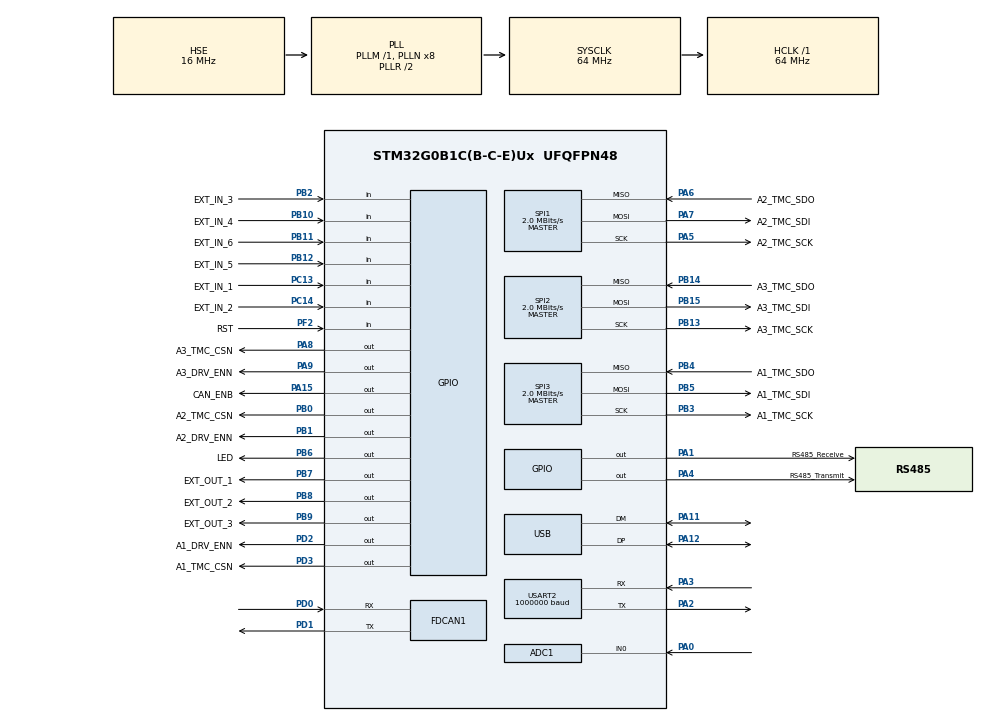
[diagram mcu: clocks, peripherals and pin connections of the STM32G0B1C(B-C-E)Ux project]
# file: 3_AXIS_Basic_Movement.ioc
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ADC1.Channel-0\#ChannelRegularConversion=ADC_CHANNEL_0
ADC1.NbrOfConversionFlag=1
ADC1.Rank-0\#ChannelRegularConversion=1
ADC1.SamplingTime-0\#ChannelRegularConversion=ADC_SAMPLINGTIME_COMMON_1
ADC1.SelectedChannel=ADC_CHANNEL_0
ADC1.master=1
FDCAN1.CalculateBaudRateNominal=1000000
FDCAN1.CalculateTimeBitNominal=1000
FDCAN1.CalculateTimeQuantumNominal=62.5
FDCAN1.DataPrescaler=1
FDCAN1.DataTimeSeg1=10
FDCAN1.DataTimeSeg2=2
FDCAN1.FrameFormat=FDCAN_FRAME_FD_BRS
FDCAN1.NominalPrescaler=4
FDCAN1.NominalTimeSeg1=13
FDCAN1.NominalTimeSeg2=2
Mcu.Family=STM32G0
Mcu.Name=STM32G0B1C(B-C-E)Ux
Mcu.Package=UFQFPN48
NVIC.TIM16_FDCAN_IT0_IRQn=true\:0\:0\:false\:false\:true\:true\:true\:true
NVIC.USART2_LPUART2_IRQn=true\:0\:0\:false\:false\:true\:true\:true\:true
NVIC.USB_UCPD1_2_IRQn=true\:0\:0\:false\:false\:true\:true\:true\:true
PA0.Mode=IN0
PA0.Signal=ADC1_IN0
PA1.GPIO_Label=RS485_Receive
PA1.Signal=GPIO_Output
PA11\ [PA9].Mode=Device
PA11\ [PA9].Signal=USB_DM
PA12\ [PA10].Mode=Device
PA12\ [PA10].Signal=USB_DP
PA13.Mode=Serial_Wire
PA13.Signal=SYS_SWDIO
PA14-BOOT0.Mode=Serial_Wire
PA14-BOOT0.Signal=SYS_SWCLK
PA15.GPIO_Label=CAN_ENB
PA15.Signal=GPIO_Output
PA2.Mode=Asynchronous
PA2.Signal=USART2_TX
PA3.Mode=Asynchronous
PA3.Signal=USART2_RX
PA4.GPIO_Label=RS485_Transmit
PA4.Signal=GPIO_Output
PA5.GPIO_Label=A2_TMC_SCK
PA5.GPIO_Speed=GPIO_SPEED_FREQ_HIGH
PA5.Mode=Full_Duplex_Master
PA5.Signal=SPI1_SCK
PA6.GPIO_Label=A2_TMC_SDO
PA6.GPIO_Speed=GPIO_SPEED_FREQ_HIGH
PA6.Mode=Full_Duplex_Master
PA6.Signal=SPI1_MISO
PA7.GPIO_Label=A2_TMC_SDI
PA7.GPIO_Speed=GPIO_SPEED_FREQ_HIGH
PA7.Mode=Full_Duplex_Master
PA7.Signal=SPI1_MOSI
PA8.GPIO_Label=A3_TMC_CSN
PA8.PinState=GPIO_PIN_SET
PA8.Signal=GPIO_Output
PA9.GPIO_Label=A3_DRV_ENN
PA9.GPIO_PuPd=GPIO_PULLUP
PA9.PinState=GPIO_PIN_SET
PA9.Signal=GPIO_Output
PB0.GPIO_Label=A2_TMC_CSN
PB0.PinState=GPIO_PIN_SET
PB0.Signal=GPIO_Output
PB1.GPIO_Label=A2_DRV_ENN
PB1.GPIO_PuPd=GPIO_PULLUP
PB1.PinState=GPIO_PIN_SET
PB1.Signal=GPIO_Output
PB10.GPIO_Label=EXT_IN_4
PB10.GPIO_PuPd=GPIO_PULLDOWN
PB10.Signal=GPIO_Input
PB11.GPIO_Label=EXT_IN_6
PB11.GPIO_PuPd=GPIO_PULLDOWN
PB11.Signal=GPIO_Input
PB12.GPIO_Label=EXT_IN_5
PB12.GPIO_PuPd=GPIO_PULLDOWN
PB12.Signal=GPIO_Input
PB13.GPIO_Label=A3_TMC_SCK
PB13.GPIO_Speed=GPIO_SPEED_FREQ_HIGH
PB13.Mode=Full_Duplex_Master
PB13.Signal=SPI2_SCK
PB14.GPIO_Label=A3_TMC_SDO
PB14.GPIO_Speed=GPIO_SPEED_FREQ_HIGH
PB14.Mode=Full_Duplex_Master
PB14.Signal=SPI2_MISO
PB15.GPIO_Label=A3_TMC_SDI
PB15.GPIO_Speed=GPIO_SPEED_FREQ_HIGH
PB15.Mode=Full_Duplex_Master
PB15.Signal=SPI2_MOSI
PB2.GPIO_Label=EXT_IN_3
PB2.GPIO_PuPd=GPIO_PULLDOWN
PB2.Signal=GPIO_Input
PB3.GPIO_Label=A1_TMC_SCK
PB3.GPIO_Speed=GPIO_SPEED_FREQ_HIGH
PB3.Mode=Full_Duplex_Master
PB3.PinState=GPIO_PIN_RESET
PB3.Signal=SPI3_SCK
PB4.GPIO_Label=A1_TMC_SDO
PB4.GPIO_Speed=GPIO_SPEED_FREQ_HIGH
PB4.Mode=Full_Duplex_Master
PB4.Signal=SPI3_MISO
PB5.GPIO_Label=A1_TMC_SDI
PB5.GPIO_Speed=GPIO_SPEED_FREQ_HIGH
PB5.Mode=Full_Duplex_Master
PB5.Signal=SPI3_MOSI
PB6.GPIO_Label=LED
PB6.GPIO_PuPd=GPIO_NOPULL
PB6.Signal=GPIO_Output
PB7.GPIO_Label=EXT_OUT_1
PB7.GPIO_PuPd=GPIO_PULLDOWN
PB7.Signal=GPIO_Output
PB8.GPIO_Label=EXT_OUT_2
PB8.GPIO_PuPd=GPIO_PULLDOWN
PB8.Signal=GPIO_Output
PB9.GPIO_Label=EXT_OUT_3
PB9.GPIO_PuPd=GPIO_PULLDOWN
PB9.Signal=GPIO_Output
PC13.GPIO_Label=EXT_IN_1
PC13.GPIO_PuPd=GPIO_PULLDOWN
PC13.Signal=GPIO_Input
PC14-OSC32_IN\ (PC14).GPIO_Label=EXT_IN_2
PC14-OSC32_IN\ (PC14).GPIO_PuPd=GPIO_PULLDOWN
PC14-OSC32_IN\ (PC14).Signal=GPIO_Input
PD0.GPIO_Speed=GPIO_SPEED_FREQ_HIGH
PD0.Mode=FDCAN_Activate
PD0.Signal=FDCAN1_RX
PD1.GPIO_Speed=GPIO_SPEED_FREQ_HIGH
PD1.Mode=FDCAN_Activate
PD1.Signal=FDCAN1_TX
PD2.GPIO_Label=A1_DRV_ENN
PD2.GPIO_PuPd=GPIO_PULLUP
PD2.PinState=GPIO_PIN_SET
PD2.Signal=GPIO_Output
PD3.GPIO_Label=A1_TMC_CSN
PD3.PinState=GPIO_PIN_SET
PD3.Signal=GPIO_Output
PF0-OSC_IN\ (PF0).Mode=HSE-External-Oscillator
PF0-OSC_IN\ (PF0).Signal=RCC_OSC_IN
PF1-OSC_OUT\ (PF1).Mode=HSE-External-Oscillator
PF1-OSC_OUT\ (PF1).Signal=RCC_OSC_OUT
PF2-NRST.GPIO_Label=RST
PF2-NRST.Signal=GPIO_Input
ProjectManager.HeapSize=0x200
ProjectManager.StackSize=0x400
ProjectManager.TargetToolchain=STM32CubeIDE
RCC.ADCFreq_Value=64000000
RCC.AHBFreq_Value=64000000
RCC.CortexFreq_Value=64000000
RCC.EXTERNAL_CLOCK_VALUE=48000
RCC.HCLKFreq_Value=64000000
RCC.HSE_VALUE=16000000
RCC.HSI48_VALUE=48000000
RCC.HSI_VALUE=16000000
RCC.LSE_VALUE=32768
RCC.PLLSourceVirtual=RCC_PLLSOURCE_HSE
RCC.SYSCLKFreq_VALUE=64000000
RCC.SYSCLKSource=RCC_SYSCLKSOURCE_PLLCLK
RCC.USBFreq_Value=48000000
RCC.VCOOutputFreq_Value=128000000
SPI1.BaudRatePrescaler=SPI_BAUDRATEPRESCALER_32
SPI1.CLKPhase=SPI_PHASE_1EDGE
SPI1.CalculateBaudRate=2.0 MBits/s
SPI1.DataSize=SPI_DATASIZE_8BIT
SPI1.Direction=SPI_DIRECTION_2LINES
SPI1.Mode=SPI_MODE_MASTER
SPI1.VirtualType=VM_MASTER
SPI2.BaudRatePrescaler=SPI_BAUDRATEPRESCALER_32
SPI2.CLKPhase=SPI_PHASE_1EDGE
SPI2.CalculateBaudRate=2.0 MBits/s
SPI2.DataSize=SPI_DATASIZE_8BIT
SPI2.Direction=SPI_DIRECTION_2LINES
SPI2.Mode=SPI_MODE_MASTER
SPI2.VirtualType=VM_MASTER
SPI3.BaudRatePrescaler=SPI_BAUDRATEPRESCALER_32
SPI3.CLKPhase=SPI_PHASE_1EDGE
SPI3.CalculateBaudRate=2.0 MBits/s
SPI3.DataSize=SPI_DATASIZE_8BIT
SPI3.Direction=SPI_DIRECTION_2LINES
SPI3.Mode=SPI_MODE_MASTER
SPI3.VirtualType=VM_MASTER
USART2.BaudRate=1000000
USART2.VirtualMode-Asynchronous=VM_ASYNC
USB_DEVICE.CLASS_NAME_FS=CDC
USB_DEVICE.VirtualMode=Cdc
USB_DEVICE.VirtualModeFS=Cdc_FS
VP_SYS_VS_DBSignals.Mode=DisableDeadBatterySignals
VP_USB_DEVICE_VS_USB_DEVICE_CDC_FS.Mode=CDC_FS
board=custom

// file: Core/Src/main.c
/* USER CODE BEGIN Header */
/**
  ******************************************************************************
  * @file           : main.c
  * @brief          : Main program body
  ******************************************************************************
  * @attention
  *
  * Copyright (c) 2025 STMicroelectronics.
  * All rights reserved.
  *
  * This software is licensed under terms that can be found in the LICENSE file
  * in the root directory of this software component.
  * If no LICENSE file comes with this software, it is provided AS-IS.
  *
  ******************************************************************************
  * Example: 3_AXIS_Basic_Movement
  * Board: 3-AXIS Stepper Driver
  * Purpose: Demonstrates simple motion on all 3 axis at fixed 1RPS speed with 256 microstepping for 10s.
  * 		 After, it will set the current position to 0 "home" and perform a rotate to position.
  * 		 Position 51200 = 1 lap, and rotating back to 0.
  * 		 lastly it will show how all 3 axis can be rotated to a defined position simultaneously.
  */
/* USER CODE END Header */
#include "main.h"
#include "usb_device.h"

ADC_HandleTypeDef hadc1;

FDCAN_HandleTypeDef hfdcan1;

SPI_HandleTypeDef hspi1;
SPI_HandleTypeDef hspi2;
SPI_HandleTypeDef hspi3;

UART_HandleTypeDef huart2;

void SystemClock_Config(void);
static void MX_GPIO_Init(void);
static void MX_ADC1_Init(void);
static void MX_FDCAN1_Init(void);
static void MX_SPI1_Init(void);
static void MX_SPI2_Init(void);
static void MX_SPI3_Init(void);
static void MX_USART2_UART_Init(void);
/* USER CODE BEGIN PFP */
void EnterBootloader(void);
void Delay_Blocking(volatile uint32_t count);
/* USER CODE END PFP */

/* USER CODE BEGIN 0 */

/* RAMP config */
RampConfig Ramp_axis_1;
RampConfig Ramp_axis_2;
RampConfig Ramp_axis_3;

/* Current config */
CurrentConfig Current_axis_1;
CurrentConfig Current_axis_2;
CurrentConfig Current_axis_3;

/* User Settings */
const int ENC_ENB_A1 = 0;  // 0 = disable Encoder , 1 = enable Encoder
const int ENC_ENB_A2 = 0;  // 0 = disable Encoder , 1 = enable Encoder
const int ENC_ENB_A3 = 0;  // 0 = disable Encoder , 1 = enable Encoder
const int ENC_HOME_A1 = 0; // 0 = don't reset ENC counter at Z-event, 1 = reset at Z-event (for homing)
const int ENC_HOME_A2 = 0; // 0 = don't reset ENC counter at Z-event, 1 = reset at Z-event (for homing)
const int ENC_HOME_A3 = 0; // 0 = don't reset ENC counter at Z-event, 1 = reset at Z-event (for homing)
const int STG_ENB_A1 = 0;  // 0 = disable Stallguard, 1 = enable Stallguard
const int STG_ENB_A2 = 0;  // 0 = disable Stallguard, 1 = enable Stallguard
const int STG_ENB_A3 = 0;  // 0 = disable Stallguard, 1 = enable Stallguard
const int32_t ENC_Resolution_A1 =  8000; // Encoder resolution
const int32_t ENC_Resolution_A2 =  8000; // Encoder resolution
const int32_t ENC_Resolution_A3 =  8000; // Encoder resolution

/* CAN VARIABLES */
FDCAN_TxHeaderTypeDef CANTxHeader;
FDCAN_RxHeaderTypeDef CANRxHeader;

uint8_t CANTxData[8];	//CANTX data array
uint8_t CANRxData[8];	//CANRX data array
uint8_t RS485TxData[8];	//RS485 data array
uint8_t RS485RxData[8]; // RS485 data array
int Datacheck;			//value for checking incoming CAN Data

/*  CAN RECEIVE INTERRUPT */
void HAL_FDCAN_RxFifo0Callback(FDCAN_HandleTypeDef *hfdcan, uint32_t RxFifo0ITs)
{
    // Check which interrupt triggered this callback
    if ((RxFifo0ITs & FDCAN_IT_RX_FIFO0_NEW_MESSAGE) != 0)
    {
    	HAL_FDCAN_GetRxMessage(hfdcan, FDCAN_RX_FIFO0, &CANRxHeader, CANRxData);

    	if (CANRxData[0] == 0x01)
		{
			Datacheck = 1;
		}
    }
}

/* RS485 RECEIVE INTERRUPT */
void HAL_UART_RxCpltCallback(UART_HandleTypeDef *huart2)
{
	if(huart2->Instance == USART2)
	{
		if (RS485RxData[0] == 0x01)  // Check if the received data matches the condition (e.g., 0x01)
		{
			Datacheck = 1;  // Set the Datacheck flag to indicate new data received
		}
	}
}

/* USER CODE END 0 */

int main(void)
{

  /* MCU Configuration--------------------------------------------------------*/

  /* Reset of all peripherals, Initializes the Flash interface and the Systick. */
  HAL_Init();

  /* Configure the system clock */
  SystemClock_Config();

  /* USER CODE BEGIN SysInit */
  SSM_InitAxisConfig();
  /* USER CODE END SysInit */

  /* Initialize all configured peripherals */
  MX_GPIO_Init();
  MX_ADC1_Init();
  MX_FDCAN1_Init();
  MX_SPI1_Init();
  MX_SPI2_Init();
  MX_SPI3_Init();
  MX_USART2_UART_Init();
  MX_USB_Device_Init();

  /* USER CODE BEGIN 2 */
  TMC5160_Drive_Enable(0, 1); // turn off 1
  TMC5160_Drive_Enable(0, 2); // turn off 2
  TMC5160_Drive_Enable(0, 3); // turn off 3

  HAL_Delay(2000);

  Ramp_axis_1.VSTART 	= 10;
  Ramp_axis_1.A1 		= 1000;
  Ramp_axis_1.V1 		= 10000;
  Ramp_axis_1.AMAX 		= 12800;
  Ramp_axis_1.VMAX 		= 51200;
  Ramp_axis_1.DMAX 		= 700;
  Ramp_axis_1.D1 		= 1400;
  Ramp_axis_1.VSTOP 	= 10;

  Ramp_axis_2.VSTART 	= 10;
  Ramp_axis_2.A1 		= 1000;
  Ramp_axis_2.V1 		= 10000;
  Ramp_axis_2.AMAX 		= 12800;
  Ramp_axis_2.VMAX 		= 51200;
  Ramp_axis_2.DMAX 		= 700;
  Ramp_axis_2.D1 		= 1400;
  Ramp_axis_2.VSTOP 	= 10;

  Ramp_axis_3.VSTART 	= 10;
  Ramp_axis_3.A1 		= 1000;
  Ramp_axis_3.V1 		= 10000;
  Ramp_axis_3.AMAX 		= 12800;
  Ramp_axis_3.VMAX 		= 51200;
  Ramp_axis_3.DMAX 		= 700;
  Ramp_axis_3.D1 		= 1400;
  Ramp_axis_3.VSTOP 	= 10;

  Current_axis_1.IHOLD 	= 1;
  Current_axis_1.IRUN 	= 1;

  Current_axis_2.IHOLD 	= 1;
  Current_axis_2.IRUN 	= 1;

  Current_axis_3.IHOLD 	= 1;
  Current_axis_3.IRUN 	= 1;

  TMC5160_Basic_Init(&Current_axis_1, 1); //init axis 1
  TMC5160_Basic_Init(&Current_axis_2, 2); //init axis 2
  TMC5160_Basic_Init(&Current_axis_3, 3); //init axis 3

  TMC5160_Drive_Enable(1, 1); //enable axis 1
  TMC5160_Drive_Enable(1, 2); //enable axis 2
  TMC5160_Drive_Enable(1, 3); //enable axis 3

  TMC5160_Basic_Rotate(1, &Ramp_axis_1, 1);
  TMC5160_Basic_Rotate(1, &Ramp_axis_2, 2);
  TMC5160_Basic_Rotate(1, &Ramp_axis_3, 3);

  HAL_Delay(10000);

  TMC5160_Stop(1);
  TMC5160_Stop(2);
  TMC5160_Stop(3);

  TMC5160_Drive_Enable(0, 1); //disable axis 1
  TMC5160_Drive_Enable(0, 2); //disable axis 2
  TMC5160_Drive_Enable(0, 3); //disable axis 2

  TMC5160_Set_Home(1);
  TMC5160_Set_Home(2);
  TMC5160_Set_Home(3);

  TMC5160_Rotate_To(51200, &Ramp_axis_1, 1);
  TMC5160_Rotate_To(51200, &Ramp_axis_2, 2);
  TMC5160_Rotate_To(51200, &Ramp_axis_3, 3);

  TMC5160_Rotate_All_To(0,0,0, &Ramp_axis_1);
  TMC5160_Rotate_All_To(51200,51200,51200, &Ramp_axis_1);

  //Disable all drives
  TMC5160_Stop(1);
  TMC5160_Stop(2);
  TMC5160_Stop(3);

  TMC5160_Drive_Enable(0, 1); //enable axis 1
  TMC5160_Drive_Enable(0, 2); //enable axis 2
  TMC5160_Drive_Enable(0, 3); //enable axis 2

  /* USER CODE END 2 */

  /* Infinite loop */
  while (1)
  {

    /* USER CODE BEGIN 3 */
	  HAL_GPIO_WritePin(LED_GPIO_Port, LED_Pin, 1); // turn on LED
	  HAL_Delay(500);
	  HAL_GPIO_WritePin(LED_GPIO_Port, LED_Pin, 0); // turn on LED
	  HAL_Delay(500);

	  if (enterBootloaderRequested)
	  {
		  HAL_Delay(200);

	      EnterBootloader();
	  }
  }
  /* USER CODE END 3 */
}

void SystemClock_Config(void)
{
  RCC_OscInitTypeDef RCC_OscInitStruct = {0};
  RCC_ClkInitTypeDef RCC_ClkInitStruct = {0};

  /** Configure the main internal regulator output voltage
  */
  HAL_PWREx_ControlVoltageScaling(PWR_REGULATOR_VOLTAGE_SCALE1);

  /** Initializes the RCC Oscillators according to the specified parameters
  * in the RCC_OscInitTypeDef structure.
  */
  RCC_OscInitStruct.OscillatorType = RCC_OSCILLATORTYPE_HSE|RCC_OSCILLATORTYPE_HSI48;
  RCC_OscInitStruct.HSEState = RCC_HSE_ON;
  RCC_OscInitStruct.HSI48State = RCC_HSI48_ON;
  RCC_OscInitStruct.PLL.PLLState = RCC_PLL_ON;
  RCC_OscInitStruct.PLL.PLLSource = RCC_PLLSOURCE_HSE;
  RCC_OscInitStruct.PLL.PLLM = RCC_PLLM_DIV1;
  RCC_OscInitStruct.PLL.PLLN = 8;
  RCC_OscInitStruct.PLL.PLLP = RCC_PLLP_DIV2;
  RCC_OscInitStruct.PLL.PLLQ = RCC_PLLQ_DIV2;
  RCC_OscInitStruct.PLL.PLLR = RCC_PLLR_DIV2;
  if (HAL_RCC_OscConfig(&RCC_OscInitStruct) != HAL_OK)
  {
    Error_Handler();
  }

  /** Initializes the CPU, AHB and APB buses clocks
  */
  RCC_ClkInitStruct.ClockType = RCC_CLOCKTYPE_HCLK|RCC_CLOCKTYPE_SYSCLK
                              |RCC_CLOCKTYPE_PCLK1;
  RCC_ClkInitStruct.SYSCLKSource = RCC_SYSCLKSOURCE_PLLCLK;
  RCC_ClkInitStruct.AHBCLKDivider = RCC_SYSCLK_DIV1;
  RCC_ClkInitStruct.APB1CLKDivider = RCC_HCLK_DIV1;

  if (HAL_RCC_ClockConfig(&RCC_ClkInitStruct, FLASH_LATENCY_2) != HAL_OK)
  {
    Error_Handler();
  }
}

static void MX_ADC1_Init(void)
{

  ADC_ChannelConfTypeDef sConfig = {0};

  /** Configure the global features of the ADC (Clock, Resolution, Data Alignment and number of conversion)
  */
  hadc1.Instance = ADC1;
  hadc1.Init.ClockPrescaler = ADC_CLOCK_SYNC_PCLK_DIV2;
  hadc1.Init.Resolution = ADC_RESOLUTION_12B;
  hadc1.Init.DataAlign = ADC_DATAALIGN_RIGHT;
  hadc1.Init.ScanConvMode = ADC_SCAN_DISABLE;
  hadc1.Init.EOCSelection = ADC_EOC_SINGLE_CONV;
  hadc1.Init.LowPowerAutoWait = DISABLE;
  hadc1.Init.LowPowerAutoPowerOff = DISABLE;
  hadc1.Init.ContinuousConvMode = DISABLE;
  hadc1.Init.NbrOfConversion = 1;
  hadc1.Init.DiscontinuousConvMode = DISABLE;
  hadc1.Init.ExternalTrigConv = ADC_SOFTWARE_START;
  hadc1.Init.ExternalTrigConvEdge = ADC_EXTERNALTRIGCONVEDGE_NONE;
  hadc1.Init.DMAContinuousRequests = DISABLE;
  hadc1.Init.Overrun = ADC_OVR_DATA_PRESERVED;
  hadc1.Init.SamplingTimeCommon1 = ADC_SAMPLETIME_1CYCLE_5;
  hadc1.Init.SamplingTimeCommon2 = ADC_SAMPLETIME_1CYCLE_5;
  hadc1.Init.OversamplingMode = DISABLE;
  hadc1.Init.TriggerFrequencyMode = ADC_TRIGGER_FREQ_HIGH;
  if (HAL_ADC_Init(&hadc1) != HAL_OK)
  {
    Error_Handler();
  }

  /** Configure Regular Channel
  */
  sConfig.Channel = ADC_CHANNEL_0;
  sConfig.Rank = ADC_REGULAR_RANK_1;
  sConfig.SamplingTime = ADC_SAMPLINGTIME_COMMON_1;
  if (HAL_ADC_ConfigChannel(&hadc1, &sConfig) != HAL_OK)
  {
    Error_Handler();
  }

}

static void MX_FDCAN1_Init(void)
{

  hfdcan1.Instance = FDCAN1;
  hfdcan1.Init.ClockDivider = FDCAN_CLOCK_DIV1;
  hfdcan1.Init.FrameFormat = FDCAN_FRAME_FD_BRS;
  hfdcan1.Init.Mode = FDCAN_MODE_NORMAL;
  hfdcan1.Init.AutoRetransmission = DISABLE;
  hfdcan1.Init.TransmitPause = DISABLE;
  hfdcan1.Init.ProtocolException = DISABLE;
  hfdcan1.Init.NominalPrescaler = 4;
  hfdcan1.Init.NominalSyncJumpWidth = 1;
  hfdcan1.Init.NominalTimeSeg1 = 13;
  hfdcan1.Init.NominalTimeSeg2 = 2;
  hfdcan1.Init.DataPrescaler = 1;
  hfdcan1.Init.DataSyncJumpWidth = 1;
  hfdcan1.Init.DataTimeSeg1 = 10;
  hfdcan1.Init.DataTimeSeg2 = 2;
  hfdcan1.Init.StdFiltersNbr = 0;
  hfdcan1.Init.ExtFiltersNbr = 0;
  hfdcan1.Init.TxFifoQueueMode = FDCAN_TX_FIFO_OPERATION;
  if (HAL_FDCAN_Init(&hfdcan1) != HAL_OK)
  {
    Error_Handler();
  }
  /* USER CODE BEGIN FDCAN1_Init 2 */
  FDCAN_FilterTypeDef sFilter;
  sFilter.IdType = FDCAN_STANDARD_ID;
  sFilter.FilterIndex = 1;
  sFilter.FilterType = FDCAN_FILTER_MASK;
  sFilter.FilterConfig = FDCAN_FILTER_TO_RXFIFO0;
  sFilter.FilterID1 = 0x000;
  sFilter.FilterID2 = 0x000;
  HAL_FDCAN_ConfigFilter(&hfdcan1, &sFilter);
  /* USER CODE END FDCAN1_Init 2 */

}

static void MX_SPI1_Init(void)
{

  /* SPI1 parameter configuration*/
  hspi1.Instance = SPI1;
  hspi1.Init.Mode = SPI_MODE_MASTER;
  hspi1.Init.Direction = SPI_DIRECTION_2LINES;
  hspi1.Init.DataSize = SPI_DATASIZE_8BIT;
  hspi1.Init.CLKPolarity = SPI_POLARITY_LOW;
  hspi1.Init.CLKPhase = SPI_PHASE_1EDGE;
  hspi1.Init.NSS = SPI_NSS_SOFT;
  hspi1.Init.BaudRatePrescaler = SPI_BAUDRATEPRESCALER_32;
  hspi1.Init.FirstBit = SPI_FIRSTBIT_MSB;
  hspi1.Init.TIMode = SPI_TIMODE_DISABLE;
  hspi1.Init.CRCCalculation = SPI_CRCCALCULATION_DISABLE;
  hspi1.Init.CRCPolynomial = 7;
  hspi1.Init.CRCLength = SPI_CRC_LENGTH_DATASIZE;
  hspi1.Init.NSSPMode = SPI_NSS_PULSE_ENABLE;
  if (HAL_SPI_Init(&hspi1) != HAL_OK)
  {
    Error_Handler();
  }

}

static void MX_SPI2_Init(void)
{

  /* SPI2 parameter configuration*/
  hspi2.Instance = SPI2;
  hspi2.Init.Mode = SPI_MODE_MASTER;
  hspi2.Init.Direction = SPI_DIRECTION_2LINES;
  hspi2.Init.DataSize = SPI_DATASIZE_8BIT;
  hspi2.Init.CLKPolarity = SPI_POLARITY_LOW;
  hspi2.Init.CLKPhase = SPI_PHASE_1EDGE;
  hspi2.Init.NSS = SPI_NSS_SOFT;
  hspi2.Init.BaudRatePrescaler = SPI_BAUDRATEPRESCALER_32;
  hspi2.Init.FirstBit = SPI_FIRSTBIT_MSB;
  hspi2.Init.TIMode = SPI_TIMODE_DISABLE;
  hspi2.Init.CRCCalculation = SPI_CRCCALCULATION_DISABLE;
  hspi2.Init.CRCPolynomial = 7;
  hspi2.Init.CRCLength = SPI_CRC_LENGTH_DATASIZE;
  hspi2.Init.NSSPMode = SPI_NSS_PULSE_ENABLE;
  if (HAL_SPI_Init(&hspi2) != HAL_OK)
  {
    Error_Handler();
  }

}

static void MX_SPI3_Init(void)
{

  /* SPI3 parameter configuration*/
  hspi3.Instance = SPI3;
  hspi3.Init.Mode = SPI_MODE_MASTER;
  hspi3.Init.Direction = SPI_DIRECTION_2LINES;
  hspi3.Init.DataSize = SPI_DATASIZE_8BIT;
  hspi3.Init.CLKPolarity = SPI_POLARITY_LOW;
  hspi3.Init.CLKPhase = SPI_PHASE_1EDGE;
  hspi3.Init.NSS = SPI_NSS_SOFT;
  hspi3.Init.BaudRatePrescaler = SPI_BAUDRATEPRESCALER_32;
  hspi3.Init.FirstBit = SPI_FIRSTBIT_MSB;
  hspi3.Init.TIMode = SPI_TIMODE_DISABLE;
  hspi3.Init.CRCCalculation = SPI_CRCCALCULATION_DISABLE;
  hspi3.Init.CRCPolynomial = 7;
  hspi3.Init.CRCLength = SPI_CRC_LENGTH_DATASIZE;
  hspi3.Init.NSSPMode = SPI_NSS_PULSE_ENABLE;
  if (HAL_SPI_Init(&hspi3) != HAL_OK)
  {
    Error_Handler();
  }

}

static void MX_USART2_UART_Init(void)
{

  huart2.Instance = USART2;
  huart2.Init.BaudRate = 1000000;
  huart2.Init.WordLength = UART_WORDLENGTH_8B;
  huart2.Init.StopBits = UART_STOPBITS_1;
  huart2.Init.Parity = UART_PARITY_NONE;
  huart2.Init.Mode = UART_MODE_TX_RX;
  huart2.Init.HwFlowCtl = UART_HWCONTROL_NONE;
  huart2.Init.OverSampling = UART_OVERSAMPLING_16;
  huart2.Init.OneBitSampling = UART_ONE_BIT_SAMPLE_DISABLE;
  huart2.Init.ClockPrescaler = UART_PRESCALER_DIV1;
  huart2.AdvancedInit.AdvFeatureInit = UART_ADVFEATURE_NO_INIT;
  if (HAL_UART_Init(&huart2) != HAL_OK)
  {
    Error_Handler();
  }
  if (HAL_UARTEx_SetTxFifoThreshold(&huart2, UART_TXFIFO_THRESHOLD_1_8) != HAL_OK)
  {
    Error_Handler();
  }
  if (HAL_UARTEx_SetRxFifoThreshold(&huart2, UART_RXFIFO_THRESHOLD_1_8) != HAL_OK)
  {
    Error_Handler();
  }
  if (HAL_UARTEx_DisableFifoMode(&huart2) != HAL_OK)
  {
    Error_Handler();
  }

}

static void MX_GPIO_Init(void)
{
  GPIO_InitTypeDef GPIO_InitStruct = {0};

  /* GPIO Ports Clock Enable */
  __HAL_RCC_GPIOC_CLK_ENABLE();
  __HAL_RCC_GPIOF_CLK_ENABLE();
  __HAL_RCC_GPIOA_CLK_ENABLE();
  __HAL_RCC_GPIOB_CLK_ENABLE();
  __HAL_RCC_GPIOD_CLK_ENABLE();

  /*Configure GPIO pin Output Level */
  HAL_GPIO_WritePin(GPIOA, RS485_Receive_Pin|RS485_Transmit_Pin|CAN_ENB_Pin, GPIO_PIN_RESET);

  /*Configure GPIO pin Output Level */
  HAL_GPIO_WritePin(GPIOB, A2_TMC_CSN_Pin|A2_DRV_ENN_Pin, GPIO_PIN_SET);

  /*Configure GPIO pin Output Level */
  HAL_GPIO_WritePin(GPIOA, A3_TMC_CSN_Pin|A3_DRV_ENN_Pin, GPIO_PIN_SET);

  /*Configure GPIO pin Output Level */
  HAL_GPIO_WritePin(GPIOD, A1_DRV_ENN_Pin|A1_TMC_CSN_Pin, GPIO_PIN_SET);

  /*Configure GPIO pin Output Level */
  HAL_GPIO_WritePin(GPIOB, LED_Pin|EXT_OUT_1_Pin|EXT_OUT_2_Pin|EXT_OUT_3_Pin, GPIO_PIN_RESET);

  /*Configure GPIO pins : EXT_IN_1_Pin EXT_IN_2_Pin */
  GPIO_InitStruct.Pin = EXT_IN_1_Pin|EXT_IN_2_Pin;
  GPIO_InitStruct.Mode = GPIO_MODE_INPUT;
  GPIO_InitStruct.Pull = GPIO_PULLDOWN;
  HAL_GPIO_Init(GPIOC, &GPIO_InitStruct);

  /*Configure GPIO pin : RST_Pin */
  GPIO_InitStruct.Pin = RST_Pin;
  GPIO_InitStruct.Mode = GPIO_MODE_INPUT;
  GPIO_InitStruct.Pull = GPIO_NOPULL;
  HAL_GPIO_Init(RST_GPIO_Port, &GPIO_InitStruct);

  /*Configure GPIO pins : RS485_Receive_Pin RS485_Transmit_Pin A3_TMC_CSN_Pin CAN_ENB_Pin */
  GPIO_InitStruct.Pin = RS485_Receive_Pin|RS485_Transmit_Pin|A3_TMC_CSN_Pin|CAN_ENB_Pin;
  GPIO_InitStruct.Mode = GPIO_MODE_OUTPUT_PP;
  GPIO_InitStruct.Pull = GPIO_NOPULL;
  GPIO_InitStruct.Speed = GPIO_SPEED_FREQ_LOW;
  HAL_GPIO_Init(GPIOA, &GPIO_InitStruct);

  /*Configure GPIO pins : A2_TMC_CSN_Pin LED_Pin */
  GPIO_InitStruct.Pin = A2_TMC_CSN_Pin|LED_Pin;
  GPIO_InitStruct.Mode = GPIO_MODE_OUTPUT_PP;
  GPIO_InitStruct.Pull = GPIO_NOPULL;
  GPIO_InitStruct.Speed = GPIO_SPEED_FREQ_LOW;
  HAL_GPIO_Init(GPIOB, &GPIO_InitStruct);

  /*Configure GPIO pin : A2_DRV_ENN_Pin */
  GPIO_InitStruct.Pin = A2_DRV_ENN_Pin;
  GPIO_InitStruct.Mode = GPIO_MODE_OUTPUT_PP;
  GPIO_InitStruct.Pull = GPIO_PULLUP;
  GPIO_InitStruct.Speed = GPIO_SPEED_FREQ_LOW;
  HAL_GPIO_Init(A2_DRV_ENN_GPIO_Port, &GPIO_InitStruct);

  /*Configure GPIO pins : EXT_IN_3_Pin EXT_IN_4_Pin EXT_IN_6_Pin EXT_IN_5_Pin */
  GPIO_InitStruct.Pin = EXT_IN_3_Pin|EXT_IN_4_Pin|EXT_IN_6_Pin|EXT_IN_5_Pin;
  GPIO_InitStruct.Mode = GPIO_MODE_INPUT;
  GPIO_InitStruct.Pull = GPIO_PULLDOWN;
  HAL_GPIO_Init(GPIOB, &GPIO_InitStruct);

  /*Configure GPIO pin : A3_DRV_ENN_Pin */
  GPIO_InitStruct.Pin = A3_DRV_ENN_Pin;
  GPIO_InitStruct.Mode = GPIO_MODE_OUTPUT_PP;
  GPIO_InitStruct.Pull = GPIO_PULLUP;
  GPIO_InitStruct.Speed = GPIO_SPEED_FREQ_LOW;
  HAL_GPIO_Init(A3_DRV_ENN_GPIO_Port, &GPIO_InitStruct);

  /*Configure GPIO pin : A1_DRV_ENN_Pin */
  GPIO_InitStruct.Pin = A1_DRV_ENN_Pin;
  GPIO_InitStruct.Mode = GPIO_MODE_OUTPUT_PP;
  GPIO_InitStruct.Pull = GPIO_PULLUP;
  GPIO_InitStruct.Speed = GPIO_SPEED_FREQ_LOW;
  HAL_GPIO_Init(A1_DRV_ENN_GPIO_Port, &GPIO_InitStruct);

  /*Configure GPIO pin : A1_TMC_CSN_Pin */
  GPIO_InitStruct.Pin = A1_TMC_CSN_Pin;
  GPIO_InitStruct.Mode = GPIO_MODE_OUTPUT_PP;
  GPIO_InitStruct.Pull = GPIO_NOPULL;
  GPIO_InitStruct.Speed = GPIO_SPEED_FREQ_LOW;
  HAL_GPIO_Init(A1_TMC_CSN_GPIO_Port, &GPIO_InitStruct);

  /*Configure GPIO pins : EXT_OUT_1_Pin EXT_OUT_2_Pin EXT_OUT_3_Pin */
  GPIO_InitStruct.Pin = EXT_OUT_1_Pin|EXT_OUT_2_Pin|EXT_OUT_3_Pin;
  GPIO_InitStruct.Mode = GPIO_MODE_OUTPUT_PP;
  GPIO_InitStruct.Pull = GPIO_PULLDOWN;
  GPIO_InitStruct.Speed = GPIO_SPEED_FREQ_LOW;
  HAL_GPIO_Init(GPIOB, &GPIO_InitStruct);

}

/* USER CODE BEGIN 4 */
void EnterBootloader(void)
{
	  uint32_t bootAddr = SYS_MEM_BOOT_ADDR;
	  boot_func_t bootEntry;

	  // Disable all interrupts
	  __disable_irq();

	  extern USBD_HandleTypeDef hUsbDeviceFS;

	  USBD_Stop(&hUsbDeviceFS);
	  USBD_DeInit(&hUsbDeviceFS);

	  // Disable USB peripheral clock
	  __HAL_RCC_USB_CLK_DISABLE();

	  // Force USB D+ line low
	  __HAL_RCC_GPIOA_CLK_ENABLE();
	  GPIO_InitTypeDef gpio = {0};
	  gpio.Pin = GPIO_PIN_12;
	  gpio.Mode = GPIO_MODE_OUTPUT_PP;
	  gpio.Pull = GPIO_NOPULL;
	  gpio.Speed = GPIO_SPEED_FREQ_LOW;
	  HAL_GPIO_Init(GPIOA, &gpio);
	  HAL_GPIO_WritePin(GPIOA, GPIO_PIN_12, GPIO_PIN_RESET);

      Delay_Blocking(4000000);

	  // Deinitialize HAL / periphs
	  HAL_RCC_DeInit();
	  HAL_DeInit();

	  Delay_Blocking(4000000);

	  // Set stack pointer from system memory vector table
	  __set_MSP(*(uint32_t *)bootAddr);

	  // Read reset vector (entry point) from system memory
	  uint32_t resetVec = *(uint32_t *)(bootAddr + 4);
	  bootEntry = (boot_func_t)resetVec;

	  bootEntry();
}

void Delay_Blocking(volatile uint32_t count)
{
    while (count--) {
        __NOP();
    }
}
/* USER CODE END 4 */

void Error_Handler(void)
{
  /* USER CODE BEGIN Error_Handler_Debug */
  /* User can add his own implementation to report the HAL error return state */

	if(enterBootloaderRequested == 1)
	{
		EnterBootloader();
	}

	__disable_irq();

	while (1)
	{
	}
  /* USER CODE END Error_Handler_Debug */
}
